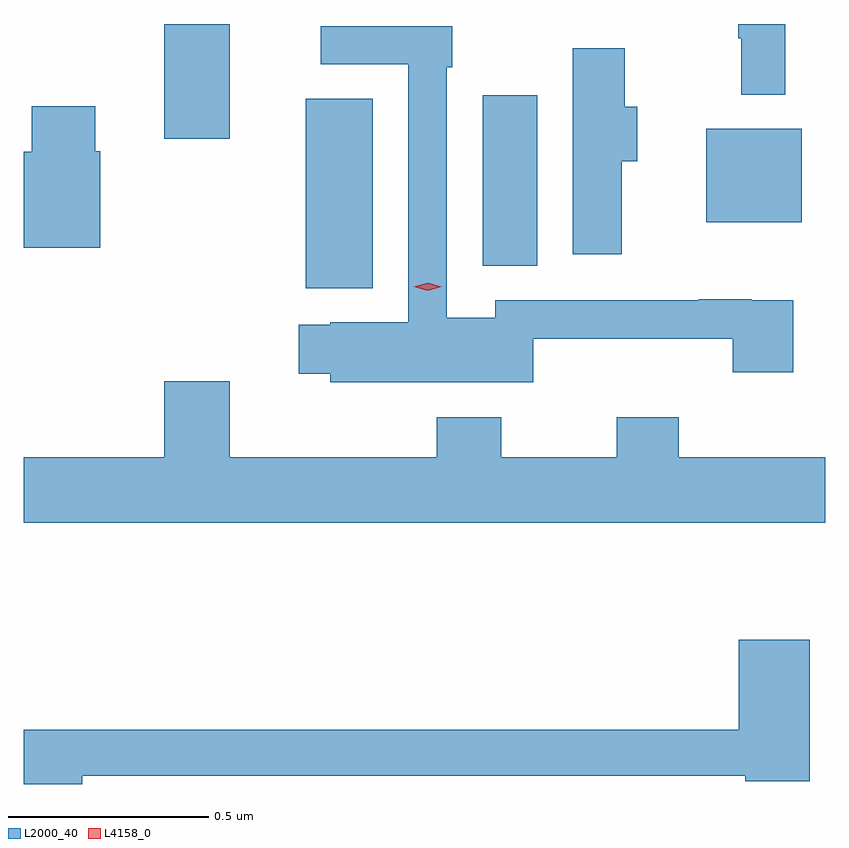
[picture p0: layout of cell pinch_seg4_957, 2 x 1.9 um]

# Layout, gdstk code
import gdstk
lib = gdstk.Library(unit=1e-6, precision=1e-09)
def R(c, l, rs):  # rectangles x0, y0, x1, y1
    for r in rs: c.add(gdstk.rectangle(r[:2], r[2:], *l))
def P(c, l, *ps):  # polygons
    for p in ps: c.add(gdstk.Polygon(p, *l))
L2000_40 = (2000, 40)
L4158_0 = (4158, 0)

pinch_seg4_957 = lib.new_cell('pinch_seg4_957')
R(pinch_seg4_957, L2000_40, [(680.846,801.401,681.013,801.875), (681.287,801.457,681.424,801.883), (681.845,801.566,682.084,801.799), (680.492,801.774,680.656,802.061)])
P(pinch_seg4_957, L2000_40, [(682.042,802.061),(681.925,802.061),(681.925,802.025),(681.933,802.025),(681.933,801.885),(682.042,801.885)],
  [(681.414,801.275),(681.911,801.275),(681.911,801.192),(682.063,801.192),(682.063,801.372),(681.959,801.372),(681.959,801.374),(681.827,801.374),(681.827,801.372),(681.318,801.372),(681.318,801.328),(681.198,801.328),(681.198,801.953),(681.211,801.953),(681.211,802.056),(680.883,802.056),(680.883,801.96),(681.102,801.96),(681.102,801.316),(680.907,801.316),(680.907,801.31),(680.828,801.31),(680.828,801.188),(680.907,801.188),(680.907,801.167),(681.414,801.167)],
  [(681.634,801.718),(681.673,801.718),(681.673,801.855),(681.642,801.855),(681.642,802),(681.512,802),(681.512,801.486),(681.634,801.486)],
  [(680.333,801.743),(680.32,801.743),(680.32,801.856),(680.162,801.856),(680.162,801.742),(680.142,801.742),(680.142,801.503),(680.333,801.503)],
  [(682.142,800.98),(681.777,800.98),(681.777,801.079),(681.622,801.079),(681.622,800.98),(681.333,800.98),(681.333,801.079),(681.173,801.079),(681.173,800.98),(680.656,800.98),(680.656,801.169),(680.492,801.169),(680.492,800.98),(680.142,800.98),(680.142,800.816),(682.142,800.816)],
  [(680.288,800.184),(681.942,800.184),(681.942,800.171),(682.104,800.171),(682.104,800.524),(681.926,800.524),(681.926,800.3),(680.142,800.3),(680.142,800.164),(680.288,800.164)])
P(pinch_seg4_957, L4158_0, [(681.15,801.395),(681.115,801.405),(681.115,801.405),(681.115,801.405),(681.15,801.415),(681.185,801.405),(681.185,801.405),(681.185,801.405)])

lib.write_gds('pinch_seg4_957.gds')
